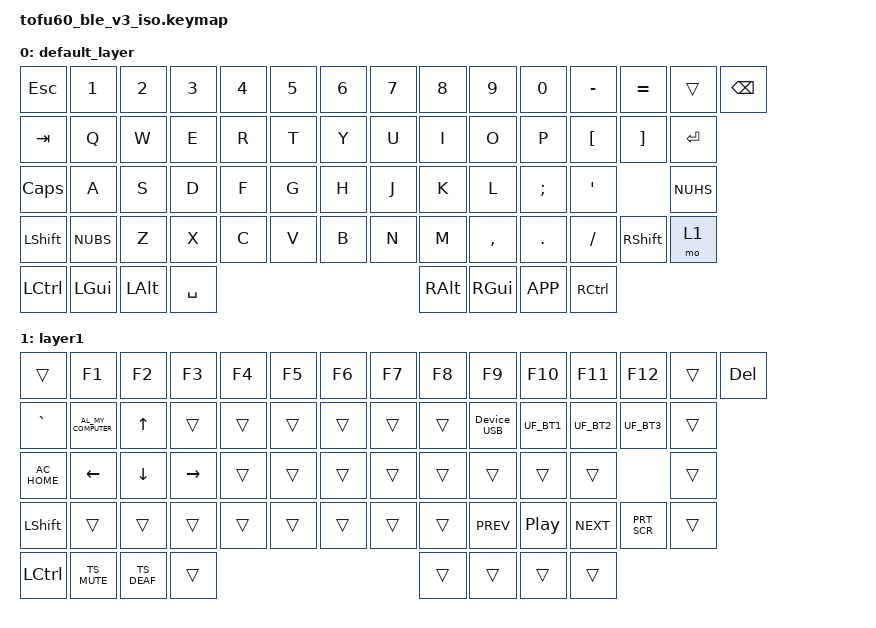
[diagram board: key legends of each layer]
#include "common.keymap"

#define UF_RESET bootloader_reset 0 0
#define UF_BT1 device_bt1 0 0
#define UF_BT2 device_bt2 0 1
#define UF_BT3 device_bt3 0 2
#define TS_MUTE ts_mute
#define TS_DEAF ts_deaf
#define PRT_SCR prt_scr

/ {
    behaviors {
        ZMK_MACRO(ts_mute,
            bindings
                = <&macro_press &kp LCTRL &kp LALT &kp LSHIFT>
                , <&macro_tap &kp END>
                , <&macro_release &kp LCTRL &kp LALT &kp LSHIFT>;
        )
        ZMK_MACRO(ts_deaf,
            bindings
                = <&macro_press &kp LCTRL &kp LALT &kp LSHIFT>
                , <&macro_tap &kp HOME>
                , <&macro_release &kp LCTRL &kp LALT &kp LSHIFT>;
        )
        ZMK_MACRO(prt_scr,
            bindings
                = <&macro_press &kp LSHIFT &kp LGUI>
                , <&macro_tap &kp S>
                , <&macro_release &kp LSHIFT &kp LGUI>;
        )
    };

    keymap {
        compatible = "zmk,keymap";
        
        default_layer {

            bindings = <
    &kp ESC    &kp N1    &kp N2    &kp N3    &kp N4    &kp N5    &kp N6    &kp N7    &kp N8    &kp N9    &kp N0    &kp MINUS &kp EQUAL &trans    &kp BSPC
    &kp TAB    &kp Q     &kp W     &kp E     &kp R     &kp T     &kp Y     &kp U     &kp I     &kp O     &kp P     &kp LBKT  &kp RBKT  &kp RET
    &kp CLCK   &kp A     &kp S     &kp D     &kp F     &kp G     &kp H     &kp J     &kp K     &kp L     &kp SEMI  &kp SQT             &kp NUHS
    &kp LSHFT  &kp NUBS  &kp Z     &kp X     &kp C     &kp V     &kp B     &kp N     &kp M     &kp COMMA &kp DOT   &kp FSLH  &kp RSHIFT &mo 1
    &kp LCTRL  &kp LGUI  &kp LALT                      &kp SPACE                       &kp RALT  &kp RGUI  &kp K_APP  &kp RCTRL
            >;
        };

        layer1 {
            bindings = <
    &trans    &kp F1    &kp F2    &kp F3    &kp F4    &kp F5    &kp F6    &kp F7    &kp F8    &kp F9     &kp F10          &kp F11          &kp F12     &trans &kp DELETE
    &kp GRAVE &kp C_AL_MY_COMPUTER &kp UP &trans &trans &trans  &trans    &trans    &trans    &Device_USB  &UF_BT1        &UF_BT2          &UF_BT3           &trans
    &kp C_AC_HOME &kp LEFT &kp DOWN &kp RIGHT &trans &trans &trans &trans &trans     &trans     &trans           &trans                            &trans
    &kp LSHFT  &trans    &trans    &trans    &trans    &trans    &trans    &trans    &trans    &kp C_PREV &kp C_PLAY_PAUSE &kp C_NEXT        &PRT_SCR         &trans
    &kp LCTRL  &TS_MUTE  &TS_DEAF                      &trans                          &trans    &trans    &trans           &trans
            >;
        };
        layer2 { status = "reserved"; };
        layer3 { status = "reserved"; };
        layer4 { status = "reserved"; };
        layer5 { status = "reserved"; };
        layer6 { status = "reserved"; };
        layer7 { status = "reserved"; };
    };
};
